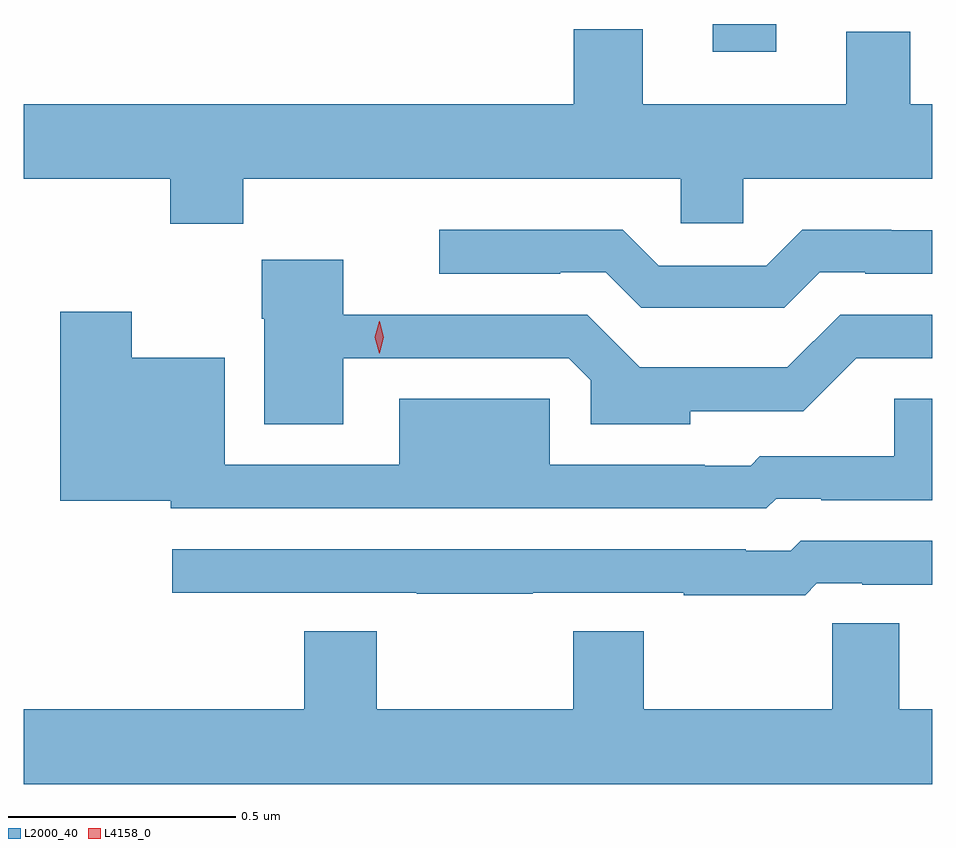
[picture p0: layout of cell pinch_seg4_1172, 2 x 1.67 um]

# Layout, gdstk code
import gdstk
lib = gdstk.Library(unit=1e-6, precision=1e-09)
def R(c, l, rs):  # rectangles x0, y0, x1, y1
    for r in rs: c.add(gdstk.rectangle(r[:2], r[2:], *l))
def P(c, l, *ps):  # polygons
    for p in ps: c.add(gdstk.Polygon(p, *l))
L2000_40 = (2000, 40)
L4158_0 = (4158, 0)

pinch_seg4_1172 = lib.new_cell('pinch_seg4_1172')
R(pinch_seg4_1172, L2000_40, [(445.613,766.464,445.753,766.525)])
P(pinch_seg4_1172, L2000_40, [(445.542,766.086),(445.68,766.086),(445.68,766.184),(446.096,766.184),(446.096,766.348),(446.047,766.348),(446.047,766.508),(445.907,766.508),(445.907,766.348),(445.459,766.348),(445.459,766.513),(445.307,766.513),(445.307,766.348),(444.096,766.348),(444.096,766.184),(444.419,766.184),(444.419,766.085),(444.579,766.085),(444.579,766.184),(445.542,766.184)],
  [(445.848,765.978),(445.948,765.978),(445.948,765.975),(446.096,765.975),(446.096,766.071),(446.006,766.071),(446.006,766.072),(445.81,766.072),(445.731,765.993),(445.494,765.993),(445.415,766.072),(445.011,766.072),(445.011,765.975),(445.277,765.975),(445.277,765.978),(445.377,765.978),(445.455,765.9),(445.77,765.9)],
  [(444.799,765.789),(445.296,765.789),(445.344,765.741),(445.344,765.644),(445.563,765.644),(445.563,765.672),(445.812,765.672),(445.929,765.789),(446.096,765.789),(446.096,765.885),(445.893,765.885),(445.777,765.769),(445.452,765.769),(445.336,765.885),(444.799,765.885),(444.799,766.006),(444.62,766.006),(444.62,765.876),(444.626,765.876),(444.626,765.644),(444.799,765.644)],
  [(445.752,765.48),(445.852,765.48),(445.852,765.477),(446.096,765.477),(446.096,765.7),(446.012,765.7),(446.012,765.573),(445.716,765.573),(445.696,765.553),(445.595,765.553),(445.595,765.555),(445.254,765.555),(445.254,765.7),(444.923,765.7),(444.923,765.555),(444.538,765.555),(444.538,765.79),(444.334,765.79),(444.334,765.892),(444.176,765.892),(444.176,765.476),(444.42,765.476),(444.42,765.459),(445.731,765.459)],
  [(445.842,765.294),(445.942,765.294),(445.942,765.291),(446.096,765.291),(446.096,765.387),(445.806,765.387),(445.785,765.366),(445.685,765.366),(445.685,765.369),(444.423,765.369),(444.423,765.273),(444.961,765.273),(444.961,765.271),(445.217,765.271),(445.217,765.273),(445.549,765.273),(445.549,765.268),(445.816,765.268)],
  [(446.096,765.016),(446.023,765.016),(446.023,765.206),(445.876,765.206),(445.876,765.016),(445.461,765.016),(445.461,765.188),(445.306,765.188),(445.306,765.016),(444.873,765.016),(444.873,765.188),(444.713,765.188),(444.713,765.016),(444.096,765.016),(444.096,764.852),(446.096,764.852)])
P(pinch_seg4_1172, L4158_0, [(444.879,765.8),(444.879,765.8),(444.869,765.835),(444.879,765.871),(444.879,765.871),(444.88,765.871),(444.889,765.835),(444.88,765.8)])

lib.write_gds('pinch_seg4_1172.gds')
